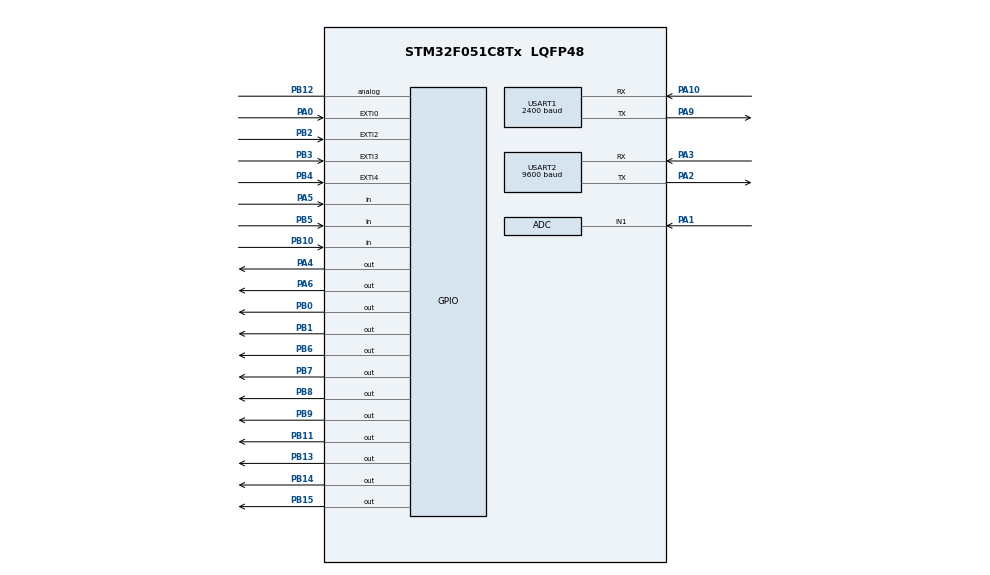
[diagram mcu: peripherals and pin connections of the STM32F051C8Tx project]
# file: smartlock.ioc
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ADC.ClockPrescaler=ADC_CLOCK_ASYNC_DIV1
ADC.ContinuousConvMode=ENABLE
ADC.DMAContinuousRequests=DISABLE
ADC.DataAlign=ADC_DATAALIGN_RIGHT
ADC.DiscontinuousConvMode=DISABLE
ADC.EOCSelection=ADC_EOC_SINGLE_CONV
ADC.EnableAnalogWatchDog=false
ADC.ExternalTrigConvEdge=ADC_EXTERNALTRIGCONVEDGE_NONE
ADC.LowPowerAutoPowerOff=DISABLE
ADC.LowPowerAutoWait=DISABLE
ADC.Overrun=ADC_OVR_DATA_PRESERVED
ADC.Resolution=ADC_RESOLUTION_12B
ADC.SamplingTime=ADC_SAMPLETIME_1CYCLE_5
ADC.ScanConvMode=ADC_SCAN_DIRECTION_FORWARD
Dma.Request0=USART2_RX
Dma.Request1=USART1_RX
Dma.USART1_RX.1.Direction=DMA_PERIPH_TO_MEMORY
Dma.USART1_RX.1.Instance=DMA1_Channel3
Dma.USART1_RX.1.MemDataAlignment=DMA_MDATAALIGN_BYTE
Dma.USART1_RX.1.MemInc=DMA_MINC_ENABLE
Dma.USART1_RX.1.Mode=DMA_CIRCULAR
Dma.USART1_RX.1.PeriphDataAlignment=DMA_PDATAALIGN_BYTE
Dma.USART1_RX.1.PeriphInc=DMA_PINC_DISABLE
Dma.USART1_RX.1.Priority=DMA_PRIORITY_LOW
Dma.USART2_RX.0.Direction=DMA_PERIPH_TO_MEMORY
Dma.USART2_RX.0.Instance=DMA1_Channel5
Dma.USART2_RX.0.MemDataAlignment=DMA_MDATAALIGN_BYTE
Dma.USART2_RX.0.MemInc=DMA_MINC_ENABLE
Dma.USART2_RX.0.Mode=DMA_CIRCULAR
Dma.USART2_RX.0.PeriphDataAlignment=DMA_PDATAALIGN_BYTE
Dma.USART2_RX.0.PeriphInc=DMA_PINC_DISABLE
Dma.USART2_RX.0.Priority=DMA_PRIORITY_LOW
FREERTOS.INCLUDE_eTaskGetState=1
FREERTOS.Queues01=gsmMsgQueue,16,uint32_t,NULL;gsmRXQueue,64,uint8_t,NULL
FREERTOS.Tasks01=defaultTask,0,64,StartDefaultTask,Default;gsmTXTask,0,64,StartgsmTXTask,Default;gsmRXTask,0,64,StartgsmRXTask,Default;lockupEX,0,64,StartLockupEXTask,Default;lockdownEX,0,64,StartLockdownEXTask,Default;badLockState,0,64,StartBadLockStateTask,Default
FREERTOS.configMINIMAL_STACK_SIZE=64
FREERTOS.configTOTAL_HEAP_SIZE=4096
FREERTOS.configUSE_IDLE_HOOK=0
FREERTOS.configUSE_TICKLESS_IDLE=1
Mcu.Family=STM32F0
Mcu.Name=STM32F051C8Tx
Mcu.Package=LQFP48
NVIC.DMA1_Channel2_3_IRQn=true\:3\:0\:false\:false\:true\:true
NVIC.DMA1_Channel4_5_IRQn=true\:3\:0\:false\:false\:true\:true
NVIC.EXTI0_1_IRQn=true\:3\:0\:false\:false\:true\:true
NVIC.EXTI2_3_IRQn=true\:3\:0\:false\:false\:true\:true
NVIC.EXTI4_15_IRQn=true\:3\:0\:false\:false\:true\:true
NVIC.TIM1_BRK_UP_TRG_COM_IRQn=true\:0\:0\:false\:false\:true\:false
NVIC.TimeBase=TIM1_BRK_UP_TRG_COM_IRQn
NVIC.TimeBaseIP=TIM1
PA0.GPIO_ModeDefaultEXTI=GPIO_MODE_IT_RISING_FALLING
PA0.Signal=GPXTI0
PA1.Mode=IN1
PA1.Signal=ADC_IN1
PA10.Mode=Asynchronous
PA10.Signal=USART1_RX
PA13.Mode=Serial_Wire
PA13.Signal=SYS_SWDIO
PA14.Mode=Serial_Wire
PA14.Signal=SYS_SWCLK
PA2.GPIO_Mode=GPIO_MODE_AF_PP
PA2.Mode=Asynchronous
PA2.Signal=USART2_TX
PA3.GPIO_Mode=GPIO_MODE_AF_PP
PA3.Mode=Asynchronous
PA3.Signal=USART2_RX
PA4.Signal=GPIO_Output
PA5.Signal=GPIO_Input
PA6.Signal=GPIO_Output
PA9.Mode=Asynchronous
PA9.Signal=USART1_TX
PB0.Signal=GPIO_Output
PB1.Signal=GPIO_Output
PB10.Signal=GPIO_Input
PB11.Signal=GPIO_Output
PB12.Signal=GPIO_Analog
PB13.Signal=GPIO_Output
PB14.Signal=GPIO_Output
PB15.Signal=GPIO_Output
PB2.GPIO_ModeDefaultEXTI=GPIO_MODE_IT_RISING_FALLING
PB2.Signal=GPXTI2
PB3.GPIO_ModeDefaultEXTI=GPIO_MODE_IT_RISING_FALLING
PB3.Signal=GPXTI3
PB4.GPIO_ModeDefaultEXTI=GPIO_MODE_IT_RISING_FALLING
PB4.Signal=GPXTI4
PB5.Signal=GPIO_Input
PB6.Signal=GPIO_Output
PB7.Signal=GPIO_Output
PB8.Signal=GPIO_Output
PB9.Signal=GPIO_Output
ProjectManager.HeapSize=0x200
ProjectManager.StackSize=0x400
ProjectManager.TargetToolchain=MDK-ARM V4
RTC.AlarmMask-Alarm\ A=RTC_ALARMMASK_ALL
USART1.BaudRate=2400
USART2.BaudRate=9600
VP_FREERTOS_VS_ENABLE.Mode=Enabled
VP_RTC_VS_RTC_Alarm_A_Intern.Mode=Alarm A
VP_SYS_VS_tim1.Mode=TIM1
board=smartlock

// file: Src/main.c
/**
  ******************************************************************************
  * File Name          : main.c
  * Description        : Main program body
  ******************************************************************************
  *
  * COPYRIGHT(c) 2016 STMicroelectronics
  *
  * Redistribution and use in source and binary forms, with or without modification,
  * are permitted provided that the following conditions are met:
  *   1. Redistributions of source code must retain the above copyright notice,
  *      this list of conditions and the following disclaimer.
  *   2. Redistributions in binary form must reproduce the above copyright notice,
  *      this list of conditions and the following disclaimer in the documentation
  *      and/or other materials provided with the distribution.
  *   3. Neither the name of STMicroelectronics nor the names of its contributors
  *      may be used to endorse or promote products derived from this software
  *      without specific prior written permission.
  *
  * THIS SOFTWARE IS PROVIDED BY THE COPYRIGHT HOLDERS AND CONTRIBUTORS "AS IS"
  * AND ANY EXPRESS OR IMPLIED WARRANTIES, INCLUDING, BUT NOT LIMITED TO, THE
  * IMPLIED WARRANTIES OF MERCHANTABILITY AND FITNESS FOR A PARTICULAR PURPOSE ARE
  * DISCLAIMED. IN NO EVENT SHALL THE COPYRIGHT HOLDER OR CONTRIBUTORS BE LIABLE
  * FOR ANY DIRECT, INDIRECT, INCIDENTAL, SPECIAL, EXEMPLARY, OR CONSEQUENTIAL
  * DAMAGES (INCLUDING, BUT NOT LIMITED TO, PROCUREMENT OF SUBSTITUTE GOODS OR
  * SERVICES; LOSS OF USE, DATA, OR PROFITS; OR BUSINESS INTERRUPTION) HOWEVER
  * CAUSED AND ON ANY THEORY OF LIABILITY, WHETHER IN CONTRACT, STRICT LIABILITY,
  * OR TORT (INCLUDING NEGLIGENCE OR OTHERWISE) ARISING IN ANY WAY OUT OF THE USE
  * OF THIS SOFTWARE, EVEN IF ADVISED OF THE POSSIBILITY OF SUCH DAMAGE.
  *
  ******************************************************************************
  */
#include "stm32f0xx_hal.h"
#include "cmsis_os.h"

/* USER CODE BEGIN Includes */
/*
 * v0.1
 * 2016-08-24
 * 新增功能：
 * 1. 增加检测升锁和降锁异常功能：
 *     1. StartLockupEXTask任务检测升锁异常
 *     2. StartLockdownEXTask任务检测降锁异常
 * 2. 增加检测非法上拉和非法下压的功能：StartBadLockStateTask
 * 修复功能：
 * 1. 修复发送短信功能
 *
 * v0.2
 * 2016-08-25
 * 新增功能：
 * 1. 休眠功能
 * 修复功能：
 * 1. 非法上拉和非法下压逻辑修改：
 *	1. 非法下压：总是先回到最低点，这样知道当前锁的状态，然后回到最高点
 *	2. 非法上拉：总是回到最低点
 *
 * v0.3
 * 2016-08-25
 * 新增功能：
 * 1. 对需要确认回执的短信处理
 *
 * v0.4
 * 2016-08-26
 * 新增功能：
 * 1. 收到短信后睡眠GSM模块
 * 2. 将STOP模式改为SLEEP模式，防止收不到短信
 * 修复功能：
 * 1. 修改非法下压和非法上拉错误，处理逻辑不变。
 *
 * v0.5
 * 2016-08-29
 * 修复功能：
 * 1. 采用禁止红外中断的方式消除抖动
 *
 * v0.6
 * 2016-08-30
 * 修复功能：
 * 1. 将所有的任务的优先级都调至osPriorityNormal
 *
 * v0.7
 * 2016-9-01
 * 新增功能：
 * 1. 检查SIM卡工作是否正常
 * 2. 检查GSM网络注册情况
 */

#include <time.h>
#include <string.h>
#include "geomag.h"
#include "misc.h"
#include "gsm.h"
/* USER CODE END Includes */

ADC_HandleTypeDef hadc;

RTC_HandleTypeDef hrtc;

UART_HandleTypeDef huart1;
UART_HandleTypeDef huart2;
DMA_HandleTypeDef hdma_usart1_rx;
DMA_HandleTypeDef hdma_usart2_rx;

osThreadId defaultTaskHandle;
osThreadId gsmTXTaskHandle;
osThreadId gsmRXTaskHandle;
osThreadId lockupEXHandle;
osThreadId lockdownEXHandle;
osThreadId badLockStateHandle;
osMessageQId gsmMsgQueueHandle;
osMessageQId gsmRXQueueHandle;

/* USER CODE BEGIN PV */
/* Private variables ---------------------------------------------------------*/
static uint8_t usart1_rx_byte;
/* USER CODE END PV */

void SystemClock_Config(void);
void Error_Handler(void);
static void MX_GPIO_Init(void);
static void MX_DMA_Init(void);
static void MX_USART1_UART_Init(void);
static void MX_USART2_UART_Init(void);
static void MX_ADC_Init(void);
static void MX_RTC_Init(void);
void StartDefaultTask(void const * argument);
void StartgsmTXTask(void const * argument);
void StartgsmRXTask(void const * argument);
void StartLockupEXTask(void const * argument);
void StartLockdownEXTask(void const * argument);
void StartBadLockStateTask(void const * argument);

/* USER CODE BEGIN PFP */
/* Private function prototypes -----------------------------------------------*/
extern void set_unix_ts(uint8_t *buf);
extern void set_date_time(uint8_t *tsbuf);
void check_shell(void);
void init_state(void);
/* USER CODE END PFP */

int main(void)
{

  /* MCU Configuration----------------------------------------------------------*/

  /* Reset of all peripherals, Initializes the Flash interface and the Systick. */
  HAL_Init();

  /* Configure the system clock */
  SystemClock_Config();

  /* Initialize all configured peripherals */
  MX_GPIO_Init();
  MX_DMA_Init();
  MX_USART1_UART_Init();
  MX_USART2_UART_Init();
  MX_ADC_Init();
  MX_RTC_Init();

  /* Create the thread(s) */
  /* definition and creation of defaultTask */
  osThreadDef(defaultTask, StartDefaultTask, osPriorityNormal, 0, 64);
  defaultTaskHandle = osThreadCreate(osThread(defaultTask), NULL);

  /* definition and creation of gsmTXTask */
  osThreadDef(gsmTXTask, StartgsmTXTask, osPriorityNormal, 0, 64);
  gsmTXTaskHandle = osThreadCreate(osThread(gsmTXTask), NULL);

  /* definition and creation of gsmRXTask */
  osThreadDef(gsmRXTask, StartgsmRXTask, osPriorityNormal, 0, 64);
  gsmRXTaskHandle = osThreadCreate(osThread(gsmRXTask), NULL);

  /* definition and creation of lockupEX */
  osThreadDef(lockupEX, StartLockupEXTask, osPriorityNormal, 0, 64);
  lockupEXHandle = osThreadCreate(osThread(lockupEX), NULL);

  /* definition and creation of lockdownEX */
  osThreadDef(lockdownEX, StartLockdownEXTask, osPriorityNormal, 0, 64);
  lockdownEXHandle = osThreadCreate(osThread(lockdownEX), NULL);

  /* definition and creation of badLockState */
  osThreadDef(badLockState, StartBadLockStateTask, osPriorityNormal, 0, 64);
  badLockStateHandle = osThreadCreate(osThread(badLockState), NULL);

  /* Create the queue(s) */
  /* definition and creation of gsmMsgQueue */
  osMessageQDef(gsmMsgQueue, 16, uint32_t);
  gsmMsgQueueHandle = osMessageCreate(osMessageQ(gsmMsgQueue), NULL);

  /* definition and creation of gsmRXQueue */
  osMessageQDef(gsmRXQueue, 64, uint8_t);
  gsmRXQueueHandle = osMessageCreate(osMessageQ(gsmRXQueue), NULL);

  /* USER CODE BEGIN RTOS_QUEUES */
  /* add queues, ... */
	__HAL_UART_FLUSH_DRREGISTER(&huart1);
	HAL_UART_Receive_DMA(&huart1, &usart1_rx_byte, 1);
  /* USER CODE END RTOS_QUEUES */

  /* Start scheduler */
  osKernelStart();

  /* We should never get here as control is now taken by the scheduler */

  /* Infinite loop */
  while (1)
  {

  }

}

/** System Clock Configuration
*/
void SystemClock_Config(void)
{

  RCC_OscInitTypeDef RCC_OscInitStruct;
  RCC_ClkInitTypeDef RCC_ClkInitStruct;
  RCC_PeriphCLKInitTypeDef PeriphClkInit;

  RCC_OscInitStruct.OscillatorType = RCC_OSCILLATORTYPE_HSI|RCC_OSCILLATORTYPE_HSI14
                              |RCC_OSCILLATORTYPE_LSI;
  RCC_OscInitStruct.HSIState = RCC_HSI_ON;
  RCC_OscInitStruct.HSI14State = RCC_HSI14_ON;
  RCC_OscInitStruct.HSICalibrationValue = 16;
  RCC_OscInitStruct.HSI14CalibrationValue = 16;
  RCC_OscInitStruct.LSIState = RCC_LSI_ON;
  RCC_OscInitStruct.PLL.PLLState = RCC_PLL_NONE;
  if (HAL_RCC_OscConfig(&RCC_OscInitStruct) != HAL_OK)
  {
    Error_Handler();
  }

  RCC_ClkInitStruct.ClockType = RCC_CLOCKTYPE_HCLK|RCC_CLOCKTYPE_SYSCLK
                              |RCC_CLOCKTYPE_PCLK1;
  RCC_ClkInitStruct.SYSCLKSource = RCC_SYSCLKSOURCE_HSI;
  RCC_ClkInitStruct.AHBCLKDivider = RCC_SYSCLK_DIV1;
  RCC_ClkInitStruct.APB1CLKDivider = RCC_HCLK_DIV1;
  if (HAL_RCC_ClockConfig(&RCC_ClkInitStruct, FLASH_LATENCY_0) != HAL_OK)
  {
    Error_Handler();
  }

  PeriphClkInit.PeriphClockSelection = RCC_PERIPHCLK_USART1|RCC_PERIPHCLK_RTC;
  PeriphClkInit.Usart1ClockSelection = RCC_USART1CLKSOURCE_PCLK1;
  PeriphClkInit.RTCClockSelection = RCC_RTCCLKSOURCE_LSI;
  if (HAL_RCCEx_PeriphCLKConfig(&PeriphClkInit) != HAL_OK)
  {
    Error_Handler();
  }

  HAL_SYSTICK_Config(HAL_RCC_GetHCLKFreq()/1000);

  HAL_SYSTICK_CLKSourceConfig(SYSTICK_CLKSOURCE_HCLK);

  /* SysTick_IRQn interrupt configuration */
  HAL_NVIC_SetPriority(SysTick_IRQn, 3, 0);
}

/* ADC init function */
static void MX_ADC_Init(void)
{

  ADC_ChannelConfTypeDef sConfig;

    /**Configure the global features of the ADC (Clock, Resolution, Data Alignment and number of conversion)
    */
  hadc.Instance = ADC1;
  hadc.Init.ClockPrescaler = ADC_CLOCK_ASYNC_DIV1;
  hadc.Init.Resolution = ADC_RESOLUTION_12B;
  hadc.Init.DataAlign = ADC_DATAALIGN_RIGHT;
  hadc.Init.ScanConvMode = ADC_SCAN_DIRECTION_FORWARD;
  hadc.Init.EOCSelection = ADC_EOC_SINGLE_CONV;
  hadc.Init.LowPowerAutoWait = DISABLE;
  hadc.Init.LowPowerAutoPowerOff = DISABLE;
  hadc.Init.ContinuousConvMode = ENABLE;
  hadc.Init.DiscontinuousConvMode = DISABLE;
  hadc.Init.ExternalTrigConvEdge = ADC_EXTERNALTRIGCONVEDGE_NONE;
  hadc.Init.DMAContinuousRequests = DISABLE;
  hadc.Init.Overrun = ADC_OVR_DATA_PRESERVED;
  if (HAL_ADC_Init(&hadc) != HAL_OK)
  {
    Error_Handler();
  }

    /**Configure for the selected ADC regular channel to be converted.
    */
  sConfig.Channel = ADC_CHANNEL_1;
  sConfig.Rank = ADC_RANK_CHANNEL_NUMBER;
  sConfig.SamplingTime = ADC_SAMPLETIME_1CYCLE_5;
  if (HAL_ADC_ConfigChannel(&hadc, &sConfig) != HAL_OK)
  {
    Error_Handler();
  }

}

/* RTC init function */
static void MX_RTC_Init(void)
{

  RTC_TimeTypeDef sTime;
  RTC_DateTypeDef sDate;
  RTC_AlarmTypeDef sAlarm;

    /**Initialize RTC and set the Time and Date
    */
  hrtc.Instance = RTC;
  hrtc.Init.HourFormat = RTC_HOURFORMAT_24;
  hrtc.Init.AsynchPrediv = 127;
  hrtc.Init.SynchPrediv = 255;
  hrtc.Init.OutPut = RTC_OUTPUT_DISABLE;
  hrtc.Init.OutPutPolarity = RTC_OUTPUT_POLARITY_HIGH;
  hrtc.Init.OutPutType = RTC_OUTPUT_TYPE_OPENDRAIN;
  if (HAL_RTC_Init(&hrtc) != HAL_OK)
  {
    Error_Handler();
  }

  sTime.Hours = 0x0;
  sTime.Minutes = 0x0;
  sTime.Seconds = 0x0;
  sTime.DayLightSaving = RTC_DAYLIGHTSAVING_NONE;
  sTime.StoreOperation = RTC_STOREOPERATION_RESET;
  if (HAL_RTC_SetTime(&hrtc, &sTime, RTC_FORMAT_BCD) != HAL_OK)
  {
    Error_Handler();
  }

  sDate.WeekDay = RTC_WEEKDAY_MONDAY;
  sDate.Month = RTC_MONTH_JANUARY;
  sDate.Date = 0x1;
  sDate.Year = 0x0;

  if (HAL_RTC_SetDate(&hrtc, &sDate, RTC_FORMAT_BCD) != HAL_OK)
  {
    Error_Handler();
  }

    /**Enable the Alarm A
    */
  sAlarm.AlarmTime.Hours = 0x0;
  sAlarm.AlarmTime.Minutes = 0x0;
  sAlarm.AlarmTime.Seconds = 0x0;
  sAlarm.AlarmTime.SubSeconds = 0x0;
  sAlarm.AlarmTime.DayLightSaving = RTC_DAYLIGHTSAVING_NONE;
  sAlarm.AlarmTime.StoreOperation = RTC_STOREOPERATION_RESET;
  sAlarm.AlarmMask = RTC_ALARMMASK_ALL;
  sAlarm.AlarmSubSecondMask = RTC_ALARMSUBSECONDMASK_ALL;
  sAlarm.AlarmDateWeekDaySel = RTC_ALARMDATEWEEKDAYSEL_DATE;
  sAlarm.AlarmDateWeekDay = 0x1;
  sAlarm.Alarm = RTC_ALARM_A;
  if (HAL_RTC_SetAlarm(&hrtc, &sAlarm, RTC_FORMAT_BCD) != HAL_OK)
  {
    Error_Handler();
  }

}

/* USART1 init function */
static void MX_USART1_UART_Init(void)
{

  huart1.Instance = USART1;
  huart1.Init.BaudRate = 2400;
  huart1.Init.WordLength = UART_WORDLENGTH_8B;
  huart1.Init.StopBits = UART_STOPBITS_1;
  huart1.Init.Parity = UART_PARITY_NONE;
  huart1.Init.Mode = UART_MODE_TX_RX;
  huart1.Init.HwFlowCtl = UART_HWCONTROL_NONE;
  huart1.Init.OverSampling = UART_OVERSAMPLING_16;
  huart1.Init.OneBitSampling = UART_ONE_BIT_SAMPLE_DISABLE;
  huart1.AdvancedInit.AdvFeatureInit = UART_ADVFEATURE_NO_INIT;
  if (HAL_UART_Init(&huart1) != HAL_OK)
  {
    Error_Handler();
  }

}

/* USART2 init function */
static void MX_USART2_UART_Init(void)
{

  huart2.Instance = USART2;
  huart2.Init.BaudRate = 9600;
  huart2.Init.WordLength = UART_WORDLENGTH_8B;
  huart2.Init.StopBits = UART_STOPBITS_1;
  huart2.Init.Parity = UART_PARITY_NONE;
  huart2.Init.Mode = UART_MODE_TX_RX;
  huart2.Init.HwFlowCtl = UART_HWCONTROL_NONE;
  huart2.Init.OverSampling = UART_OVERSAMPLING_16;
  huart2.Init.OneBitSampling = UART_ONE_BIT_SAMPLE_DISABLE;
  huart2.AdvancedInit.AdvFeatureInit = UART_ADVFEATURE_NO_INIT;
  if (HAL_UART_Init(&huart2) != HAL_OK)
  {
    Error_Handler();
  }

}

static void MX_DMA_Init(void)
{
  /* DMA controller clock enable */
  __HAL_RCC_DMA1_CLK_ENABLE();

  /* DMA interrupt init */
  /* DMA1_Channel2_3_IRQn interrupt configuration */
  HAL_NVIC_SetPriority(DMA1_Channel2_3_IRQn, 3, 0);
  HAL_NVIC_EnableIRQ(DMA1_Channel2_3_IRQn);
  /* DMA1_Channel4_5_IRQn interrupt configuration */
  HAL_NVIC_SetPriority(DMA1_Channel4_5_IRQn, 3, 0);
  HAL_NVIC_EnableIRQ(DMA1_Channel4_5_IRQn);

}

/** Configure pins as
        * Analog
        * Input
        * Output
        * EVENT_OUT
        * EXTI
*/
static void MX_GPIO_Init(void)
{

  GPIO_InitTypeDef GPIO_InitStruct;

  /* GPIO Ports Clock Enable */
  __HAL_RCC_GPIOA_CLK_ENABLE();
  __HAL_RCC_GPIOB_CLK_ENABLE();

  /*Configure GPIO pin : PA0 */
  GPIO_InitStruct.Pin = GPIO_PIN_0;
  GPIO_InitStruct.Mode = GPIO_MODE_IT_RISING_FALLING;
  GPIO_InitStruct.Pull = GPIO_NOPULL;
  HAL_GPIO_Init(GPIOA, &GPIO_InitStruct);

  /*Configure GPIO pins : PA4 PA6 */
  GPIO_InitStruct.Pin = GPIO_PIN_4|GPIO_PIN_6;
  GPIO_InitStruct.Mode = GPIO_MODE_OUTPUT_PP;
  GPIO_InitStruct.Pull = GPIO_NOPULL;
  GPIO_InitStruct.Speed = GPIO_SPEED_FREQ_LOW;
  HAL_GPIO_Init(GPIOA, &GPIO_InitStruct);

  /*Configure GPIO pin : PA5 */
  GPIO_InitStruct.Pin = GPIO_PIN_5;
  GPIO_InitStruct.Mode = GPIO_MODE_INPUT;
  GPIO_InitStruct.Pull = GPIO_NOPULL;
  HAL_GPIO_Init(GPIOA, &GPIO_InitStruct);

  /*Configure GPIO pins : PB0 PB1 PB11 PB13
                           PB14 PB15 PB6 PB7
                           PB8 PB9 */
  GPIO_InitStruct.Pin = GPIO_PIN_0|GPIO_PIN_1|GPIO_PIN_11|GPIO_PIN_13
                          |GPIO_PIN_14|GPIO_PIN_15|GPIO_PIN_6|GPIO_PIN_7
                          |GPIO_PIN_8|GPIO_PIN_9;
  GPIO_InitStruct.Mode = GPIO_MODE_OUTPUT_PP;
  GPIO_InitStruct.Pull = GPIO_NOPULL;
  GPIO_InitStruct.Speed = GPIO_SPEED_FREQ_LOW;
  HAL_GPIO_Init(GPIOB, &GPIO_InitStruct);

  /*Configure GPIO pins : PB2 PB3 PB4 */
  GPIO_InitStruct.Pin = GPIO_PIN_2|GPIO_PIN_3|GPIO_PIN_4;
  GPIO_InitStruct.Mode = GPIO_MODE_IT_RISING_FALLING;
  GPIO_InitStruct.Pull = GPIO_NOPULL;
  HAL_GPIO_Init(GPIOB, &GPIO_InitStruct);

  /*Configure GPIO pins : PB10 PB5 */
  GPIO_InitStruct.Pin = GPIO_PIN_10|GPIO_PIN_5;
  GPIO_InitStruct.Mode = GPIO_MODE_INPUT;
  GPIO_InitStruct.Pull = GPIO_NOPULL;
  HAL_GPIO_Init(GPIOB, &GPIO_InitStruct);

  /*Configure GPIO pin : PB12 */
  GPIO_InitStruct.Pin = GPIO_PIN_12;
  GPIO_InitStruct.Mode = GPIO_MODE_ANALOG;
  GPIO_InitStruct.Pull = GPIO_NOPULL;
  HAL_GPIO_Init(GPIOB, &GPIO_InitStruct);

  /*Configure GPIO pin Output Level */
  HAL_GPIO_WritePin(GPIOA, GPIO_PIN_4|GPIO_PIN_6, GPIO_PIN_RESET);

  /*Configure GPIO pin Output Level */
  HAL_GPIO_WritePin(GPIOB, GPIO_PIN_0|GPIO_PIN_1|GPIO_PIN_11|GPIO_PIN_13
                          |GPIO_PIN_14|GPIO_PIN_15|GPIO_PIN_6|GPIO_PIN_7
                          |GPIO_PIN_8|GPIO_PIN_9, GPIO_PIN_RESET);

  /* EXTI interrupt init*/
  HAL_NVIC_SetPriority(EXTI0_1_IRQn, 3, 0);
  HAL_NVIC_EnableIRQ(EXTI0_1_IRQn);

  HAL_NVIC_SetPriority(EXTI2_3_IRQn, 3, 0);
  HAL_NVIC_EnableIRQ(EXTI2_3_IRQn);

  HAL_NVIC_SetPriority(EXTI4_15_IRQn, 3, 0);
  HAL_NVIC_EnableIRQ(EXTI4_15_IRQn);

}

/* USER CODE BEGIN 4 */
// 接收短信缓冲区
struct UartCache
{
	uint8_t index;
	uint8_t value[128];
};

// 是否可以进入睡眠状态。
int can_sleep(void)
{
	return (osOK == osThreadIsSuspended(defaultTaskHandle)) &&
		(osThreadBlocked == osThreadGetState(gsmTXTaskHandle)) &&
		(osThreadBlocked == osThreadGetState(gsmRXTaskHandle)) &&
		(osOK == osThreadIsSuspended(lockupEXHandle)) &&
		(osOK == osThreadIsSuspended(lockdownEXHandle)) &&
		(osOK == osThreadIsSuspended(badLockStateHandle));
}
// 从睡眠态唤醒后恢复任务
void wakeup_tasks(void)
{
	// 当前只需恢复默认任务
	if (osOK == osThreadIsSuspended(defaultTaskHandle))
		osThreadResume(defaultTaskHandle);
}

void HAL_UART_RxCpltCallback(UART_HandleTypeDef *huart)
{
	if (huart == &huart1) {
		__HAL_UART_FLUSH_DRREGISTER(&huart1); // Clear the buffer to prevent overrun
		osMessagePut(gsmRXQueueHandle, usart1_rx_byte, 0);
	} else if (huart == &huart2)
		put_usart2_byte();
}
// 外壳状态标识
enum {
	SHELL_OPEN,	// 0 外壳被打开
	SHELL_CLOSE,	// 1 外壳关闭
};
volatile int shell_state = -1;

/*
 * 红外状态图：
 * K2K3: Y表示有光，N表示无光
 * 锁正常的旋转范围是0~90度。
 * 升锁状态转换：NN -> NY -> YY
 * 降锁状态转换: YY -> NY -> NN
 *
 * 	       90
 *	      _YY_
 *	     /    \
 *	    /      \
 *         YN      NY
 *        /          \
 *       /            \
 * 180  YN -----------NN   0
 *
 * 注意：
 * 	在0度（处于降锁状态）和90度（处于升锁状态）
 * 	时，红外不稳定，会连续发中断。
 *
 */

enum {
	LOCK_UP,	// 0 锁已升起
	LOCK_UPPING,	// 1 锁正在升起
	LOCK_DOWN,	// 2 锁已降下
	LOCK_DOWNING	// 3 锁正在下降
};

enum {
	LOCK_DEST_UP,	// 0 要升锁
	LOCK_DEST_DOWN,	// 1 要降锁
};
// lock_dest表示锁当前是要升锁还是降锁，用于消除红外临界点的抖动。
volatile int lock_dest = -1;
volatile int lock_state = -1;
// 短暂的落锁状态
volatile int transient_lock_down = 0;

enum {
	K_LIGHT_ON,		// 0 红外有光
	K_LIGHT_OFF,		// 1 红外无光
};

volatile int k2_state = -1;
volatile int k3_state = -1;

// 根据管脚状态初始化各状态标志位
void init_state(void)
{
	lock_dest = LOCK_DEST_UP;
	if (GPIO_PIN_RESET == HAL_GPIO_ReadPin(GPIOA, GPIO_PIN_0))
		shell_state = SHELL_CLOSE;
	else
		shell_state = SHELL_OPEN;

	if (GPIO_PIN_RESET == HAL_GPIO_ReadPin(GPIOB, GPIO_PIN_2))
		k2_state = K_LIGHT_ON;
	else
		k2_state = K_LIGHT_OFF;

	if (GPIO_PIN_RESET == HAL_GPIO_ReadPin(GPIOB, GPIO_PIN_3))
		k3_state = K_LIGHT_ON;
	else
		k3_state = K_LIGHT_OFF;

	if (k2_state == K_LIGHT_ON && k3_state == K_LIGHT_ON)
		lock_state = LOCK_UP;

	if (k2_state == K_LIGHT_OFF && k3_state == K_LIGHT_OFF)
		lock_state = LOCK_DOWN;
	HAL_NVIC_EnableIRQ(EXTI2_3_IRQn);
}

void lock_up()
{
	if (lock_state == LOCK_UP || lock_state == LOCK_UPPING)
		return;
	lock_dest = LOCK_DEST_UP;
	lock_state = LOCK_UPPING;
	__lock_up();
}
// 同时唤醒检查异常的任务
// 用于从最低点升锁
void lock_up_ex()
{
	if (lock_state == LOCK_UP || lock_state == LOCK_UPPING)
		return;
	lock_dest = LOCK_DEST_UP;
	lock_state = LOCK_UPPING;
	// 在StartLockupEXTask开启中断
	HAL_NVIC_DisableIRQ(EXTI2_3_IRQn);
	__lock_up();
	if (osOK == osThreadIsSuspended(lockupEXHandle))
		osThreadResume(lockupEXHandle);
}

void lock_down()
{
	if (lock_state == LOCK_DOWN || lock_state == LOCK_DOWNING)
		return;
	lock_dest = LOCK_DEST_DOWN;
	lock_state = LOCK_DOWNING;;
	transient_lock_down = 0;
	__lock_down();
}
// 同时唤醒检查异常的任务
// 用于从最高点升锁
void lock_down_ex()
{
	if (lock_state == LOCK_DOWN || lock_state == LOCK_DOWNING)
		return;
	lock_dest = LOCK_DEST_DOWN;
	lock_state = LOCK_DOWNING;
	transient_lock_down = 0;
	// 在StartLockdownEXTask开启中断
	HAL_NVIC_DisableIRQ(EXTI2_3_IRQn);
	__lock_down();
	if (osOK == osThreadIsSuspended(lockdownEXHandle))
		osThreadResume(lockdownEXHandle);
}

static volatile int geomag_wait_tick = 0;
static volatile int geomag_wait_enable = 0;

void enable_geomag_wait(void)
{
	geomag_wait_tick = 0;
	geomag_wait_enable = 1;
}

void disable_geomag_wait(void)
{
	geomag_wait_enable = 0;
	geomag_wait_tick = 0;
}

void HAL_GPIO_EXTI_Callback(uint16_t GPIO_Pin)
{
	static int detect_car = 0;

	extern volatile int in_maintenance_mode;
	extern volatile int in_nop_mode;

	if (in_nop_mode || in_maintenance_mode)
		return;

	switch (GPIO_Pin) {
	case GPIO_PIN_0:
		if (GPIO_PIN_RESET == HAL_GPIO_ReadPin(GPIOA, GPIO_Pin))
			shell_state = SHELL_CLOSE;
		else
			shell_state = SHELL_OPEN;
		break;
	// 红外k2
	case GPIO_PIN_2:
		if (GPIO_PIN_RESET == HAL_GPIO_ReadPin(GPIOB, GPIO_Pin)) {
			k2_state = K_LIGHT_ON;
			if (lock_dest == LOCK_DEST_UP && k3_state == K_LIGHT_ON) {
				// 消除临界不稳定状态。
				if (lock_state == LOCK_UP)
					break;
				lock_off();
				lock_state = LOCK_UP;
				HAL_NVIC_DisableIRQ(EXTI2_3_IRQn);
				geomag_sleep();
				osMessagePut(gsmMsgQueueHandle, GSM_SEND_MSG_TYPE_AU, 0);
			}
		} else {
			k2_state = K_LIGHT_OFF;
			if (lock_dest == LOCK_DEST_DOWN && k3_state == K_LIGHT_OFF) {
				// 消除临界不稳定状态。
				if (lock_state == LOCK_DOWN)
					break;
				lock_off();
				lock_state = LOCK_DOWN;
				HAL_NVIC_DisableIRQ(EXTI2_3_IRQn);
				if (1 == transient_lock_down)
					break;
				geomag_wakeup();
				geomag_reset();
				geomag_corr();
				// 启动定时，30s内无车来，升锁。
				enable_geomag_wait();
				osMessagePut(gsmMsgQueueHandle, GSM_SEND_MSG_TYPE_AD, 0);
			}
		}
		break;
	// 红外k3
	case GPIO_PIN_3:
		if (GPIO_PIN_RESET == HAL_GPIO_ReadPin(GPIOB, GPIO_Pin)) {
			k3_state = K_LIGHT_ON;
			if (lock_dest == LOCK_DEST_UP && k2_state == K_LIGHT_ON) {
				// 消除临界不稳定状态。
				if (lock_state == LOCK_UP)
					break;
				lock_off();
				lock_state = LOCK_UP;
				HAL_NVIC_DisableIRQ(EXTI2_3_IRQn);
				geomag_sleep();
				osMessagePut(gsmMsgQueueHandle, GSM_SEND_MSG_TYPE_AU, 0);
			}
		} else {
			k3_state = K_LIGHT_OFF;
			// 加判断lock_dest != LOCK_DEST_UP是为了防止抖动。
			if (lock_dest == LOCK_DEST_DOWN && k2_state == K_LIGHT_OFF) {
				// 消除临界不稳定状态。
				if (lock_state == LOCK_DOWN)
					break;
				lock_off();
				lock_state = LOCK_DOWN;
				HAL_NVIC_DisableIRQ(EXTI2_3_IRQn);
				if (1 == transient_lock_down)
					break;
				geomag_wakeup();
				geomag_reset();
				geomag_corr();
				// 启动定时，30s内无车来，升锁。
				enable_geomag_wait();
				osMessagePut(gsmMsgQueueHandle, GSM_SEND_MSG_TYPE_AD, 0);
			}
		}
		break;
	case GPIO_PIN_4:
		// 地磁未完成学习，输出无效，返回
		if (geomag_not_ready() || lock_state != LOCK_DOWN)
			break;
		if (GPIO_PIN_RESET == HAL_GPIO_ReadPin(GPIOB, GPIO_Pin)) {
			// 无车
			// 再检查两次是否有车
			if (GPIO_PIN_SET == HAL_GPIO_ReadPin(GPIOB, GPIO_Pin))
				break;
			if (GPIO_PIN_SET == HAL_GPIO_ReadPin(GPIOB, GPIO_Pin))
				break;
			// 检测到有车来时才关心无车的情况。
			if (0 == detect_car)
				break;
			detect_car = 0;
			osMessagePut(gsmMsgQueueHandle, ENABLE_AK(GSM_SEND_MSG_TYPE_ML), 0);
			lock_up_ex();
		} else {
			// 有车来
			osMessagePut(gsmMsgQueueHandle, ENABLE_AK(GSM_SEND_MSG_TYPE_MH), 0);
			disable_geomag_wait();
			detect_car = 1;
		}
		break;
	}
	// 检查非法上拉和下压
	if (GPIO_Pin == GPIO_PIN_2 || GPIO_Pin == GPIO_PIN_3) {
		if (((lock_state == LOCK_UP) && !(k2_state == K_LIGHT_ON && k3_state == K_LIGHT_ON)) ||
				((lock_state == LOCK_DOWN) && !(k2_state == K_LIGHT_OFF && k3_state == K_LIGHT_OFF))) {
			if (osOK == osThreadIsSuspended(badLockStateHandle))
				osThreadResume(badLockStateHandle);
		}
	}
}

//
static __inline void gsmQueuePut(uint32_t info, uint32_t millisec)
{
	//if (osOK == osThreadIsSuspended(gsmTXTaskHandle))
	//	osThreadResume(gsmTXTaskHandle);
	osMessagePut(gsmMsgQueueHandle, info, millisec);
}

// 读取电压，单位是毫伏
uint32_t read_voltage(void)
{
	uint32_t v = 0;

	HAL_ADC_Start(&hadc);
	if (HAL_OK == HAL_ADC_PollForConversion(&hadc, 2000))
		v = HAL_ADC_GetValue(&hadc) * 3300 >> 11;
	HAL_ADC_Stop(&hadc);
	return v;
}
// 进入维修模式
volatile int in_maintenance_mode = 0;
//
void enter_maintenance_mode(int isgsm)
{
	if (isgsm)
		gsm_switch();	// 关闭gsm真正进入维修模式
	else
		gsmQueuePut(ENABLE_AK(GSM_SEND_MSG_TYPE_RP), 1000);
	geomag_sleep();
	ir_off();
	lock_off();
	in_maintenance_mode = 1;
	while (1)
		osThreadSuspend(NULL);
}
// 程序刚上电时，检查外壳
void check_shell(void)
{
	int i;
	int send_msg = 0;
	// 检查5次，确保确实已关闭
	for (i = 0; i < 5; ++i) {
		shell_state = shell_is_open() ? SHELL_OPEN : SHELL_CLOSE;
		if (SHELL_OPEN == shell_state) {
			if (0 == send_msg) {
				gsmQueuePut(GSM_SEND_MSG_TYPE_HO, 1000);
				osDelay(5000);
				// 短信发出后才能睡眠
				while (osThreadBlocked != osThreadGetState(gsmTXTaskHandle)) {
					osDelay(1000);
				}
				send_msg = 1;
			}
			gsm_switch();
			HAL_PWR_EnterSLEEPMode(PWR_LOWPOWERREGULATOR_ON, PWR_STOPENTRY_WFI);
			i = -1;
			continue;
		}
		osDelay(1000);
	}
	if (send_msg == 1) {
		gsm_switch();
		osDelay(5000);
	}
}

// 检查电压，小于4.2v时进入维修模式
void check_voltage(void)
{
	uint32_t voltage;
	voltage = read_voltage();
	if (voltage <= 4200)
		 enter_maintenance_mode(0);
}

// 初始化时升锁
void lock_up_init(void)
{
	int try;
	int i;

	// 如果已在最高位置，直接返回。
	if (LOCK_UP == lock_state) {
		gsmQueuePut(GSM_SEND_MSG_TYPE_AU, 1000);
		return;
	}
	lock_dest = LOCK_DEST_UP;
	// 不要在这禁中断
	// 初始时，锁可能处于升”过“状态，需要升回到最高位置。
	if (k2_state == K_LIGHT_ON && k3_state == K_LIGHT_OFF) {
		lock_state = LOCK_DOWNING;
		__lock_down();
	} else {	// 未在最高位置，升锁。
		lock_state = LOCK_UPPING;
		__lock_up();
	}
	try = 0;
	while (LOCK_UP != lock_state) {
		// 正常情况下，5s可升到最高位置。
		for (i = 0; i < 50; ++i) {
			osDelay(100);
			if (LOCK_UP == lock_state) {
				HAL_Delay(1000);
				HAL_NVIC_EnableIRQ(EXTI2_3_IRQn);
				return;
			}
		}
		lock_off();
		// QoS Level 0
		gsmQueuePut(GSM_SEND_MSG_TYPE_FD, 1000);
		if (10 == try)
			 enter_maintenance_mode(0);
		beep(1000);
		osDelay(1000);
		beep(1000);
		osDelay(1000);
		beep(1000);

		lock_down();
		for (i = 0; i < 50; ++i) {
			osDelay(100);
			if (LOCK_DOWN == lock_state)
				break;
		}
		lock_off();
		// 中断可能被禁掉了
		HAL_NVIC_EnableIRQ(EXTI2_3_IRQn);
		osDelay(30000);	// 30s

		try++;
		lock_up();
	}
	HAL_Delay(1000);
	HAL_NVIC_EnableIRQ(EXTI2_3_IRQn);
}

#define TO_HEX(d) ((d) > 9 ? (((d) - 10) + 'A') : ((d) + '0'))

void make_send_msg(int msg_type)
{
	struct send_msg_struct *msg = &sms_mem.sms.msg;
	uint32_t voltage;

	memset(msg, ' ', sizeof(*msg));
	msg->head[0] = 'X';
	msg->head[1] = 'Y';
	// voltage
	voltage = read_voltage();
	msg->voltage[0] = (voltage / 1000) + '0';
	msg->voltage[1] = '.';
	msg->voltage[2] = (voltage / 100) % 10 + '0';
	if (AK_ENABLED(msg_type)) {
		msg->confirm = '1';
		sms_mem.try = 3;
		sms_mem.is_sent = 0;
	} else {
		msg->confirm = '0';
		sms_mem.try = 0;
	}
	sms_mem.phone_no = gsm_cmd_cmgs[0];
	// unix ts
	set_unix_ts(msg->ts);
	switch (GSM_SEND_MSG_TYPE(msg_type)) {
	case GSM_SEND_MSG_TYPE_AU:
		msg->cmd[0] = 'A';
		msg->cmd[1] = 'U';
		msg->sm1 = 'U';
		msg->sm2 = 'L';
		break;
	case GSM_SEND_MSG_TYPE_AD:
		msg->cmd[0] = 'A';
		msg->cmd[1] = 'D';
		msg->sm1 = 'D';
		msg->sm2 = 'L';
		break;
	case GSM_SEND_MSG_TYPE_MH:
		msg->cmd[0] = 'M';
		msg->cmd[1] = 'H';
		msg->sm1 = 'U';
		msg->sm2 = 'H';
		get_geomag_state();
		msg->data[0] = TO_HEX((geomag_state->state & 0xf000) >> 12);
		msg->data[1] = TO_HEX((geomag_state->state & 0x0f00) >> 8);
		msg->data[2] = TO_HEX((geomag_state->state & 0x00f0) >> 4);
		msg->data[3] = TO_HEX(geomag_state->state & 0x000f);
		break;
	case GSM_SEND_MSG_TYPE_ML:
		msg->cmd[0] = 'M';
		msg->cmd[1] = 'L';
		msg->sm1 = 'D';
		msg->sm2 = 'L';
		get_geomag_state();
		msg->data[0] = TO_HEX((geomag_state->state & 0xf000) >> 12);
		msg->data[1] = TO_HEX((geomag_state->state & 0x0f00) >> 8);
		msg->data[2] = TO_HEX((geomag_state->state & 0x00f0) >> 4);
		msg->data[3] = TO_HEX(geomag_state->state & 0x000f);
		break;
	case GSM_SEND_MSG_TYPE_HO:
		msg->cmd[0] = 'H';
		msg->cmd[1] = 'O';
		break;
	case GSM_SEND_MSG_TYPE_RP:
		msg->cmd[0] = 'R';
		msg->cmd[1] = 'P';
		break;
	case GSM_SEND_MSG_TYPE_FD:
		msg->cmd[0] = 'F';
		msg->cmd[1] = 'D';
		break;
	case GSM_SEND_MSG_TYPE_FU:
		msg->cmd[0] = 'F';
		msg->cmd[1] = 'U';
		break;
	case GSM_SEND_MSG_TYPE_SU:
		msg->cmd[0] = 'S';
		msg->cmd[1] = 'U';
		break;
	case GSM_SEND_MSG_TYPE_AK:
		msg->cmd[0] = 'A';
		msg->cmd[1] = 'K';
		break;
	}
	msg->end = 0x1a;
}

// 无操作模式
volatile int in_nop_mode = 0;
void enter_nop_mode(void)
{
	geomag_sleep();
	ir_off();
	lock_off();
	in_nop_mode = 1;
	osThreadSuspend(NULL);
}

void leave_nop_mode(void)
{
	HAL_NVIC_DisableIRQ(EXTI2_3_IRQn);
	ir_on();
	HAL_Delay(1000);
	HAL_NVIC_EnableIRQ(EXTI2_3_IRQn);
	in_nop_mode = 0;
}

// 处理短信命令
void processOrder(struct send_msg_struct *msg)
{
	if (msg->head[0] == 'M' && msg->head[1] == 'G') {
		set_date_time(msg->ts);
		if (in_nop_mode && msg->cmd[0] != 'A' && msg->cmd[1] != 'K')
			return;
		// 短信升锁
		if (msg->cmd[0] == 'U' && msg->cmd[1] == 'A') {
			// 如果当前已降锁，取消可能的定时升锁。
			if (lock_state == LOCK_DOWN)
				disable_geomag_wait();
			lock_up_ex();
		// 短信降锁
		} else if (msg->cmd[0] == 'D' && msg->cmd[1] == 'A') {
			lock_down_ex();
		// 请求地锁状态
		} else if (msg->cmd[0] == 'G' && msg->cmd[1] == 'S') {
			gsmQueuePut(GSM_SEND_MSG_TYPE_SU, 1000);
		} else if (msg->cmd[0] == 'A' && msg->cmd[1] == 'K') {
			sms_mem.is_sent = 1;
			if (in_maintenance_mode)
				enter_maintenance_mode(1);
			if (in_nop_mode) {
				leave_nop_mode();
				// 可能从无操作模式恢复，唤醒短信发送任务继续发送短信
				if (osOK == osThreadIsSuspended(gsmTXTaskHandle))
					osThreadResume(gsmTXTaskHandle);
			}
		// 强制升锁
		} else if (msg->cmd[0] == 'F' && msg->cmd[1] == 'U') {
			// 不检查当前锁的位置
			lock_up_ex();
		} else if (msg->cmd[0] == 'F' && msg->cmd[1] == 'D') {
			// 不检查当前锁的位置
			lock_down_ex();
		}
		// 对需要确认回执的短信，发送回执短信
		if ('1' == msg->confirm)
			gsmQueuePut(GSM_SEND_MSG_TYPE_AK, 1000);
	}
}

/* USER CODE END 4 */

/* StartDefaultTask function */
void StartDefaultTask(void const * argument)
{

  /* USER CODE BEGIN 5 */
	beep(200);
	osDelay(1000);
	beep(200);
	// 短信模块初始化
	gsm_init();
	// 检查外壳
	//check_shell();
	// 地磁模块初始化
	geomag_init();
	// 初始化各状态标志位
	init_state();
	// check voltage
	check_voltage();
	// lock up
	lock_up_init();
  /* Infinite loop */
	for (;;) {
		osThreadSuspend(NULL);
		check_voltage();
	}
  /* USER CODE END 5 */
}

/* StartgsmTXTask function */
void StartgsmTXTask(void const * argument)
{
  /* USER CODE BEGIN StartgsmTXTask */
	osEvent event;
  /* Infinite loop */
	for (;;) {
		//
		event = osMessageGet(gsmMsgQueueHandle, osWaitForever);
		if (osEventMessage == event.status) {
// 将0改为1，启动发短信功能
#if 1
			make_send_msg(event.value.v);
			gsm_send_msg();
			//
			if (sms_mem.sms.msg.confirm == '1') {
				while (1) {
					// 5s应该够了
					osDelay(5000);
					if (sms_mem.is_sent)
						break;
					if (0 == sms_mem.try) {
						if (sms_mem.phone_no == gsm_cmd_cmgs[0]) {
							sms_mem.phone_no = gsm_cmd_cmgs[1];
						} else if (sms_mem.phone_no == gsm_cmd_cmgs[1]) {
							sms_mem.phone_no = gsm_cmd_cmgs[2];
						} else {
							// 短信发不出去，进入无操作模式
							enter_nop_mode();
							// 离开无操作模式后，继续发送之前未发送成功的短信
							sms_mem.phone_no = gsm_cmd_cmgs[0];
						}
						sms_mem.try = 3;
					}
					gsm_send_msg();
				}
			}
#endif
		}
	}
  /* USER CODE END StartgsmTXTask */
}

/* StartgsmRXTask function */
struct UartCache cache;
void StartgsmRXTask(void const * argument)
{
  /* USER CODE BEGIN StartgsmRXTask */
  /* Infinite loop */
	extern int cpin_ok;
	extern int creg_ok;
	// struct UartCache cache;
	osEvent event;
	uint8_t getSMS= 0;

	/* Infinite loop */
	memset(&cache, 0, sizeof(cache));
	for(;;) {
		event = osMessageGet(gsmRXQueueHandle, osWaitForever);
		if (event.status == osEventMessage) {
			cache.value[cache.index++] = event.value.v;
			if (NULL != strstr((char *)cache.value,"\r\n")) {
				if (getSMS == 1){
					// 处理命令
					processOrder((struct send_msg_struct *)cache.value);
					getSMS = 0;
				} else if (strcmp((const char *)cache.value, "\r\n") == 0) { /* ?????? */
					memset(&cache, 0, sizeof(cache));
					continue;
				} else if (NULL != strstr((char *)cache.value, "ERROR\r\n")) {
					//sendGSMCmd(&lastTxGSMCmd);
				} else if (NULL != strstr((char *)cache.value, "+CMT:")) {
					getSMS = 1;
				} else if (NULL != strstr((char *)cache.value, "+CPIN:READY")) {
					cpin_ok = 1;
				} else if (NULL != strstr((char *)cache.value, "+CREG: 1,1")) {	// 本地网
					creg_ok = 1;
				} else if (NULL != strstr((char *)cache.value, "+CREG: 1,5")) {	// 漫游
					creg_ok = 1;
				}
				memset(&cache, 0, sizeof(cache));
				//gsm_sleep();
			}
		}
	}
  /* USER CODE END StartgsmRXTask */
}

/* StartLockupEXTask function */
void StartLockupEXTask(void const * argument)
{
  /* USER CODE BEGIN StartLockupEXTask */
	int try;
	int i;
  /* Infinite loop */
	for(;;) {
sleep:
		// 大部分时间处于挂起状态，短信升锁时唤醒。
		osThreadSuspend(NULL);
		if (in_nop_mode || in_maintenance_mode)
			continue;

		HAL_Delay(1000);
		HAL_NVIC_EnableIRQ(EXTI2_3_IRQn);
		try = 0;
		while (LOCK_UP != lock_state) {
			for (i = 0; i < 50; ++i) {
				osDelay(100);
				if (LOCK_UP == lock_state) {
					HAL_Delay(1000);
					HAL_NVIC_EnableIRQ(EXTI2_3_IRQn);
					goto sleep;
				}
			}
			lock_off();
			// QoS Level 0
			gsmQueuePut(GSM_SEND_MSG_TYPE_FD, 1000);
			if (10 == try)
				enter_maintenance_mode(0);
			beep(1000);
			osDelay(1000);
			beep(1000);
			osDelay(1000);
			beep(1000);

			lock_down();
			for (i = 0; i < 50; ++i) {
				osDelay(100);
				if (LOCK_DOWN == lock_state)
					break;
			}
			HAL_NVIC_EnableIRQ(EXTI2_3_IRQn);
			lock_off();
			osDelay(30000);	// 30s

			try++;
			lock_up();
		}
		HAL_Delay(1000);
		HAL_NVIC_EnableIRQ(EXTI2_3_IRQn);
	}
  /* USER CODE END StartLockupEXTask */
}

/* StartLockdownEXTask function */
void StartLockdownEXTask(void const * argument)
{
  /* USER CODE BEGIN StartLockdownEXTask */
	int try;
	int i;
  /* Infinite loop */
	for(;;) {
sleep:
		// 大部分时间处于挂起状态，短信降锁时唤醒。
		osThreadSuspend(NULL);
		if (in_nop_mode || in_maintenance_mode)
			continue;

		HAL_Delay(1200);
		HAL_NVIC_EnableIRQ(EXTI2_3_IRQn);
		try = 0;
		while (LOCK_DOWN != lock_state) {
			for (i = 0; i < 50; ++i) {
				osDelay(100);
				if (LOCK_DOWN == lock_state) {
					HAL_Delay(1000);
					HAL_NVIC_EnableIRQ(EXTI2_3_IRQn);
					goto sleep;
				}
			}
			lock_off();
			// QoS Level 0
			gsmQueuePut(GSM_SEND_MSG_TYPE_FU, 1000);
			if (10 == try)
				enter_maintenance_mode(0);
			beep(1000);
			osDelay(1000);
			beep(1000);
			osDelay(1000);
			beep(1000);

			lock_up();
			for (i = 0; i < 50; ++i) {
				osDelay(100);
				if (LOCK_UP == lock_state)
					break;
			}
			HAL_NVIC_EnableIRQ(EXTI2_3_IRQn);
			lock_off();
			osDelay(30000);	// 30s

			try++;
			lock_down();
		}
		HAL_Delay(1000);
		HAL_NVIC_EnableIRQ(EXTI2_3_IRQn);
	}
  /* USER CODE END StartLockdownEXTask */
}

/* StartBadLockStateTask function */
void StartBadLockStateTask(void const * argument)
{
  /* USER CODE BEGIN StartBadLockStateTask */
  	uint32_t millisec;
	uint32_t tick;
	int i;
  /* Infinite loop */
	for(;;) {
sleep:
		osThreadSuspend(NULL);
		if (in_nop_mode || in_maintenance_mode)
			continue;
		HAL_Delay(1200);
		if (osOK != osThreadIsSuspended(lockupEXHandle))
			continue;
		if (osOK != osThreadIsSuspended(lockdownEXHandle))
			continue;

		millisec = 0;
		// 非法下压，需升锁
		if (lock_state == LOCK_UP && !(k2_state == K_LIGHT_ON && k3_state == K_LIGHT_ON)){
			// 等待2秒钟，红外状态稳定
			osDelay(2000);
			// 又回到最高点了。
			if (lock_state == LOCK_UP && k2_state == K_LIGHT_ON && k3_state == K_LIGHT_ON)
				goto sleep;
			// QoS Level 0
			gsmQueuePut(GSM_SEND_MSG_TYPE_FD, 1000);
			while (1) {
				// 先回到降锁状态,，这样知道自己在哪
				tick = 0;
				while (lock_state != LOCK_DOWN || k2_state != K_LIGHT_OFF || k3_state != K_LIGHT_OFF) {
					lock_dest = LOCK_DEST_DOWN;
					lock_state = LOCK_DOWNING;
					transient_lock_down = 1;
					__lock_down();
					beep(1000);
					millisec += 1000;
					tick += 1000;
					// 最坏的情况是可能需要5s才能降到最低点
					if (lock_state != LOCK_DOWN && tick >= 5000) {
						lock_off();
						tick = 0;
						osDelay(2000);
						millisec += 2000;
					}
					if (60000 <= millisec) {	// 1 minute
						if (lock_state != LOCK_DOWN || k2_state != K_LIGHT_OFF || k3_state != K_LIGHT_OFF)
							enter_maintenance_mode(0);
					}
				}
				HAL_NVIC_EnableIRQ(EXTI2_3_IRQn);
				transient_lock_down = 0;
				osDelay(1000);
				millisec += 1000;
				// 可以升锁了
				lock_up();
				tick = 0;
				for (i = 0; i < 100; ++i) {
					osDelay(100);
					tick += 100;
					if (LOCK_UP == lock_state) {
						// 在最高点
						if (k2_state == K_LIGHT_ON && k3_state == K_LIGHT_ON) {
							HAL_Delay(1000);
							HAL_NVIC_EnableIRQ(EXTI2_3_IRQn);
							goto sleep;
						}
						break;
					} else {
						// 2s应该可以升到最高点
						if (tick >= 2000) {
							lock_off();
							osDelay(2000);
							i += 20;
							tick = 0;
							if (lock_state != LOCK_UP)
								__lock_up();
						}
					}
				}

				lock_off();
				osDelay(1000);
				millisec += 1000 + i * 100;
				if (60000 <= millisec) {	// 1 minute
					if (lock_state != LOCK_UP || k2_state != K_LIGHT_ON || k3_state != K_LIGHT_ON)
						enter_maintenance_mode(0);
				}
			}
		// 非法上拉，这个简单，只需降锁
		} else if (lock_state == LOCK_DOWN && !(k2_state == K_LIGHT_OFF && k3_state == K_LIGHT_OFF)) {
			osDelay(2000);
			// 又回到最低点了。
			if (lock_state == LOCK_DOWN && k2_state == K_LIGHT_OFF && k3_state == K_LIGHT_OFF)
				goto sleep;
			// QoS Level 0
			gsmQueuePut(GSM_SEND_MSG_TYPE_FU, 1000);
			while (1) {
				lock_dest = LOCK_DEST_DOWN;
				lock_state = LOCK_DOWNING;
				transient_lock_down = 1;
				__lock_down();
				tick = 0;
				for (i = 0; i < 100; ++i) {
					beep(100);
					tick += 100;
					if (LOCK_DOWN == lock_state) {
						if (k2_state == K_LIGHT_OFF && k3_state == K_LIGHT_OFF) {
							HAL_Delay(1000);
							HAL_NVIC_EnableIRQ(EXTI2_3_IRQn);
							transient_lock_down = 0;
							goto sleep;
						}
						break;
					} else {
						// 最坏的情况是可能需要5s才能降到最低点
						if (tick >= 5000) {
							lock_off();
							osDelay(2000);
							i += 20;
							tick = 0;
							if (lock_state != LOCK_DOWN)
								__lock_down();
						}
					}
				}

				lock_off();
				osDelay(1000);
				millisec += 1000 + i * 100;
				if (60000 <= millisec) {	// 1 minute
					if (lock_state != LOCK_DOWN || k2_state != K_LIGHT_OFF || k3_state != K_LIGHT_OFF)
						enter_maintenance_mode(0);
				}
			}
		}
	}
  /* USER CODE END StartBadLockStateTask */
}

void HAL_TIM_PeriodElapsedCallback(TIM_HandleTypeDef *htim)
{
  if (htim->Instance == TIM1) {
    HAL_IncTick();
  }
/* USER CODE BEGIN Callback 1 */
	// 无车定时，30s内无车来升锁。
	if (1 == geomag_wait_enable && htim->Instance == TIM1) {
		geomag_wait_tick++;
		if (30000 <= geomag_wait_tick) {	// 30s
			// 确保真的无车。
			if (has_car()) {
				disable_geomag_wait();
				return;
			}
			lock_up_ex();
			disable_geomag_wait();
		}
	}
/* USER CODE END Callback 1 */
}

void Error_Handler(void)
{
  /* USER CODE BEGIN Error_Handler */
  /* User can add his own implementation to report the HAL error return state */
	while(1) ;
  /* USER CODE END Error_Handler */
}

/************************ (C) COPYRIGHT STMicroelectronics *****END OF FILE****/

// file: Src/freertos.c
/**
  ******************************************************************************
  * File Name          : freertos.c
  * Description        : Code for freertos applications
  ******************************************************************************
  *
  * COPYRIGHT(c) 2016 STMicroelectronics
  *
  * Redistribution and use in source and binary forms, with or without modification,
  * are permitted provided that the following conditions are met:
  *   1. Redistributions of source code must retain the above copyright notice,
  *      this list of conditions and the following disclaimer.
  *   2. Redistributions in binary form must reproduce the above copyright notice,
  *      this list of conditions and the following disclaimer in the documentation
  *      and/or other materials provided with the distribution.
  *   3. Neither the name of STMicroelectronics nor the names of its contributors
  *      may be used to endorse or promote products derived from this software
  *      without specific prior written permission.
  *
  * THIS SOFTWARE IS PROVIDED BY THE COPYRIGHT HOLDERS AND CONTRIBUTORS "AS IS"
  * AND ANY EXPRESS OR IMPLIED WARRANTIES, INCLUDING, BUT NOT LIMITED TO, THE
  * IMPLIED WARRANTIES OF MERCHANTABILITY AND FITNESS FOR A PARTICULAR PURPOSE ARE
  * DISCLAIMED. IN NO EVENT SHALL THE COPYRIGHT HOLDER OR CONTRIBUTORS BE LIABLE
  * FOR ANY DIRECT, INDIRECT, INCIDENTAL, SPECIAL, EXEMPLARY, OR CONSEQUENTIAL
  * DAMAGES (INCLUDING, BUT NOT LIMITED TO, PROCUREMENT OF SUBSTITUTE GOODS OR
  * SERVICES; LOSS OF USE, DATA, OR PROFITS; OR BUSINESS INTERRUPTION) HOWEVER
  * CAUSED AND ON ANY THEORY OF LIABILITY, WHETHER IN CONTRACT, STRICT LIABILITY,
  * OR TORT (INCLUDING NEGLIGENCE OR OTHERWISE) ARISING IN ANY WAY OUT OF THE USE
  * OF THIS SOFTWARE, EVEN IF ADVISED OF THE POSSIBILITY OF SUCH DAMAGE.
  *
  ******************************************************************************
  */

#include "FreeRTOS.h"
#include "task.h"

/* USER CODE BEGIN Includes */
#include "cmsis_os.h"
#include "misc.h"
/* USER CODE END Includes */

/* USER CODE BEGIN Variables */
static int recover_from_stop_mode = 0;
/* USER CODE END Variables */

/* USER CODE BEGIN FunctionPrototypes */
extern int can_sleep(void);
extern void wakeup_tasks(void);
/* USER CODE END FunctionPrototypes */

/* Pre/Post sleep processing prototypes */
void PreSleepProcessing(uint32_t *ulExpectedIdleTime);
void PostSleepProcessing(uint32_t *ulExpectedIdleTime);

/* Hook prototypes */

/* USER CODE BEGIN PREPOSTSLEEP */
void PreSleepProcessing(uint32_t *ulExpectedIdleTime)
{
/* place for user code */
	*ulExpectedIdleTime = 0;
	// 当所有工作任务被挂起时，进入到SLEEP模式
	if (can_sleep()) {
		HAL_PWR_EnterSLEEPMode(PWR_LOWPOWERREGULATOR_ON, PWR_STOPENTRY_WFI);
		//HAL_PWR_EnterSTOPMode(PWR_LOWPOWERREGULATOR_ON, PWR_STOPENTRY_WFI);
		recover_from_stop_mode = 1;
	}
}

void PostSleepProcessing(uint32_t *ulExpectedIdleTime)
{
/* place for user code */
	if (0 == recover_from_stop_mode)
		return;
	wakeup_tasks();
	recover_from_stop_mode = 0;
}
/* USER CODE END PREPOSTSLEEP */

/************************ (C) COPYRIGHT STMicroelectronics *****END OF FILE****/
